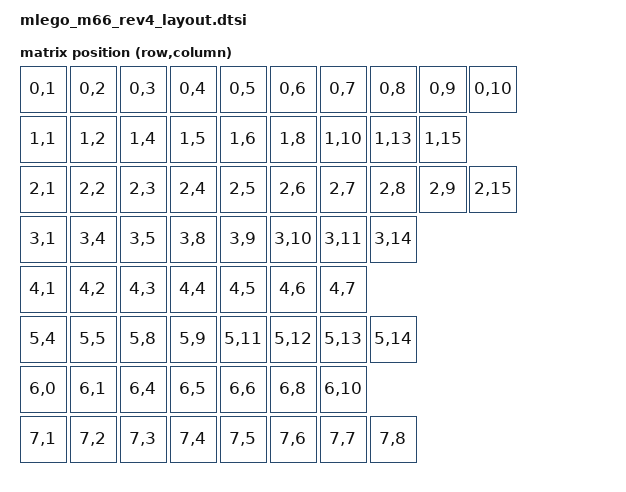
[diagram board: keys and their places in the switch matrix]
/*
 * Copyright (c) 2022-2024 alin m elena
 * SPDX-License-Identifier: MIT
 */

#include <dt-bindings/zmk/matrix_transform.h>
#include <physical_layouts.dtsi>

/ {
    m66_layout: m66_layout {
        compatible = "zmk,physical-layout";
        display-name = "m66 default layout";
        transform = <&m66>;
   };

    m66: m66_0 {
      compatible = "zmk,matrix-transform";
      columns = <16>;
      rows = <8>;
      map = <
RC(0,1) RC(0,2) RC(0,3) RC(0,4) RC(0,5) RC(0,6) RC(0,7) RC(0,8) RC(0,9) RC(0,10)
RC(1,1) RC(1,2) RC(1,4) RC(1,5) RC(1,6) RC(1,8) RC(1,10) RC(1,13) RC(1,15)
RC(2,1) RC(2,2) RC(2,3) RC(2,4) RC(2,5) RC(2,6) RC(2,7) RC(2,8) RC(2,9) RC(2,15)
RC(3,1) RC(3,4) RC(3,5) RC(3,8) RC(3,9) RC(3,10) RC(3,11) RC(3,14)
RC(4,1) RC(4,2) RC(4,3) RC(4,4) RC(4,5) RC(4,6) RC(4,7)
RC(5,4) RC(5,5) RC(5,8) RC(5,9) RC(5,11) RC(5,12) RC(5,13) RC(5,14)
RC(6,0) RC(6,1) RC(6,4) RC(6,5) RC(6,6) RC(6,8) RC(6,10)
RC(7,1) RC(7,2) RC(7,3) RC(7,4) RC(7,5) RC(7,6) RC(7,7) RC(7,8)
      >;
    };
};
